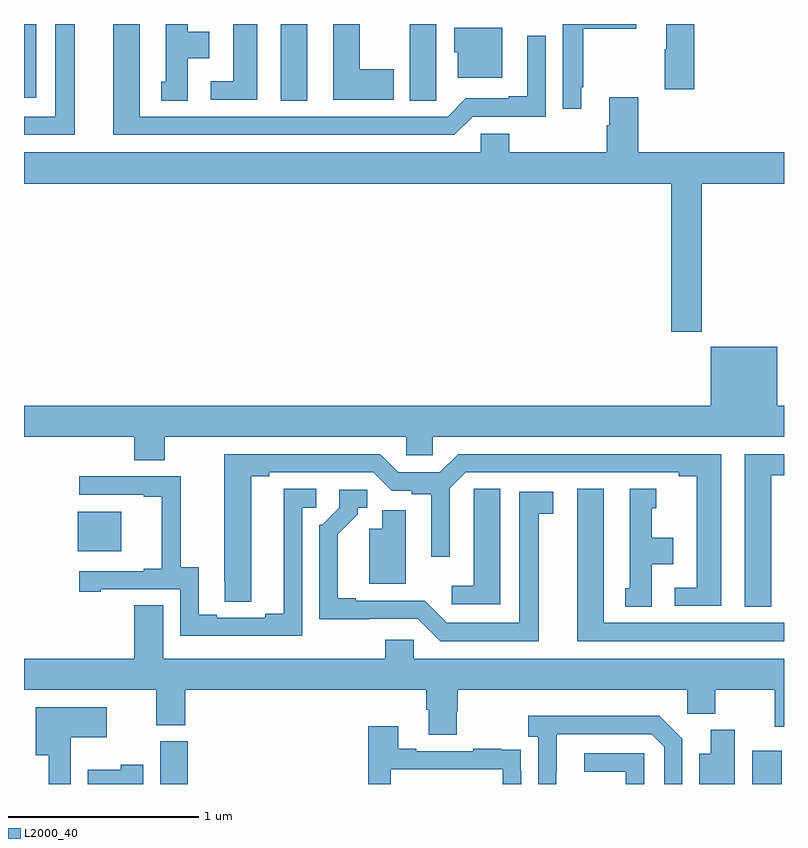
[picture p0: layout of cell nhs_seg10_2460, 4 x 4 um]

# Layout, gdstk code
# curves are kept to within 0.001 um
import gdstk
lib = gdstk.Library(unit=1e-6, precision=1e-09)
def R(c, l, rs):  # rectangles x0, y0, x1, y1
    for r in rs: c.add(gdstk.rectangle(r[:2], r[2:], *l))
def P(c, l, *ps):  # polygons
    for p in ps: c.add(gdstk.Polygon(p, *l))
L2000_40 = (2000, 40)

nhs_seg10_2460 = lib.new_cell('nhs_seg10_2460')
R(nhs_seg10_2460, L2000_40, [(243.716,1286.5,243.863,1286.724), (246.833,1286.5,246.988,1286.674), (243.284,1287.725,243.511,1287.934), (244.352,1290.097,244.492,1290.5), (243,1290.111,243.064,1290.5)])
P(nhs_seg10_2460, L2000_40, [(246.527,1290.5),(246.38,1290.5),(246.38,1290.368),(246.373,1290.368),(246.373,1290.156),(246.527,1290.156)],
  [(245.169,1290.208),(245.17,1290.208),(245.17,1290.5),(245.03,1290.5),(245.03,1290.097),(245.169,1290.097)],
  [(245.361,1290.012),(245.745,1290.012),(245.745,1290.439),(245.648,1290.439),(245.648,1290.121),(245.552,1290.121),(245.552,1290.108),(245.325,1290.108),(245.229,1290.012),(243.61,1290.012),(243.61,1290.5),(243.47,1290.5),(243.47,1289.916),(245.265,1289.916)],
  [(244.228,1290.5),(244.1,1290.5),(244.1,1290.198),(243.984,1290.198),(243.984,1290.102),(244.228,1290.102)],
  [(243.862,1290.32),(243.976,1290.32),(243.976,1290.46),(243.862,1290.46),(243.862,1290.5),(243.746,1290.5),(243.746,1290.195),(243.722,1290.195),(243.722,1290.097),(243.862,1290.097)],
  [(243.268,1290.5),(243.164,1290.5),(243.164,1290.012),(243,1290.012),(243,1289.916),(243.268,1289.916)],
  [(244.945,1290.261),(244.768,1290.261),(244.768,1290.5),(244.628,1290.5),(244.628,1290.101),(244.945,1290.101)],
  [(245.932,1290.166),(245.944,1290.166),(245.944,1290.475),(246.223,1290.475),(246.223,1290.5),(245.835,1290.5),(245.835,1290.054),(245.932,1290.054)],
  [(245.518,1290.481),(245.264,1290.481),(245.264,1290.351),(245.282,1290.351),(245.282,1290.218),(245.518,1290.218)],
  [(246.567,1289.66),(247,1289.66),(247,1289.824),(246.233,1289.824),(246.233,1290.115),(246.08,1290.115),(246.08,1289.966),(246.068,1289.966),(246.068,1289.824),(245.555,1289.824),(245.555,1289.922),(245.403,1289.922),(245.403,1289.824),(243,1289.824),(243,1289.66),(246.407,1289.66),(246.407,1288.881),(246.567,1288.881)],
  [(243.741,1288.328),(245.013,1288.328),(245.013,1288.23),(245.151,1288.23),(245.151,1288.328),(247,1288.328),(247,1288.492),(246.964,1288.492),(246.964,1288.801),(246.614,1288.801),(246.614,1288.492),(243,1288.492),(243,1288.328),(243.581,1288.328),(243.581,1288.204),(243.741,1288.204)],
  [(246.67,1288.236),(245.285,1288.236),(245.189,1288.14),(244.971,1288.14),(244.875,1288.236),(244.055,1288.236),(244.056,1287.46),(244.195,1287.46),(244.195,1288.12),(244.291,1288.12),(244.291,1288.14),(244.839,1288.14),(244.935,1288.044),(245.04,1288.044),(245.04,1288.024),(245.144,1288.024),(245.144,1287.696),(245.241,1287.696),(245.241,1288.056),(245.325,1288.14),(246.446,1288.14),(246.446,1288.12),(246.542,1288.12),(246.542,1287.534),(246.426,1287.534),(246.426,1287.438),(246.67,1287.438)],
  [(246.934,1288.125),(247,1288.125),(247,1288.236),(246.794,1288.236),(246.794,1287.433),(246.934,1287.433)],
  [(244.464,1287.954),(244.537,1287.954),(244.537,1288.055),(244.367,1288.055),(244.367,1287.395),(244.271,1287.395),(244.271,1287.375),(244.015,1287.375),(244.015,1287.39),(243.919,1287.39),(243.919,1287.641),(243.825,1287.641),(243.825,1288.119),(243.291,1288.119),(243.291,1288.023),(243.629,1288.023),(243.629,1288.011),(243.725,1288.011),(243.725,1287.634),(243.629,1287.634),(243.629,1287.621),(243.291,1287.621),(243.291,1287.513),(243.403,1287.513),(243.403,1287.525),(243.822,1287.525),(243.822,1287.279),(244.464,1287.279)],
  [(245.506,1288.055),(245.367,1288.055),(245.367,1287.947),(245.366,1287.947),(245.366,1287.544),(245.25,1287.544),(245.25,1287.447),(245.506,1287.447)],
  [(246.304,1287.656),(246.418,1287.656),(246.418,1287.796),(246.304,1287.796),(246.304,1287.951),(246.328,1287.951),(246.328,1288.054),(246.188,1288.054),(246.188,1287.531),(246.164,1287.531),(246.164,1287.433),(246.304,1287.433)],
  [(247,1287.348),(246.052,1287.348),(246.052,1288.054),(245.912,1288.054),(245.912,1287.252),(247,1287.252)],
  [(245.71,1287.922),(245.785,1287.922),(245.785,1288.038),(245.606,1288.038),(245.606,1287.348),(245.226,1287.348),(245.109,1287.465),(244.747,1287.465),(244.747,1287.478),(244.651,1287.478),(244.651,1287.814),(244.756,1287.919),(244.756,1287.954),(244.806,1287.954),(244.806,1288.05),(244.659,1288.05),(244.659,1287.954),(244.569,1287.864),(244.554,1287.864),(244.554,1287.368),(245.073,1287.369),(245.19,1287.252),(245.71,1287.252)],
  [(245.008,1287.942),(244.886,1287.942),(244.886,1287.844),(244.817,1287.844),(244.817,1287.554),(245.008,1287.554)],
  [(245.277,1286.883),(245.282,1286.883),(245.282,1286.996),(246.492,1286.996),(246.492,1286.87),(246.639,1286.87),(246.639,1286.996),(246.95,1286.996),(246.95,1286.802),(247,1286.802),(247,1287.16),(245.052,1287.16),(245.052,1287.258),(244.901,1287.258),(244.901,1287.16),(243.733,1287.16),(243.733,1287.44),(243.581,1287.44),(243.581,1287.16),(243,1287.16),(243,1286.996),(243.695,1286.996),(243.695,1286.809),(243.848,1286.809),(243.848,1286.996),(245.117,1286.996),(245.117,1286.89),(245.129,1286.89),(245.129,1286.758),(245.277,1286.758)],
  [(243.247,1286.747),(243.436,1286.747),(243.436,1286.905),(243.062,1286.905),(243.062,1286.651),(243.131,1286.651),(243.131,1286.5),(243.247,1286.5)],
  [(245.802,1286.563),(245.803,1286.763),(246.303,1286.763),(246.369,1286.697),(246.369,1286.5),(246.465,1286.5),(246.465,1286.739),(246.344,1286.86),(245.655,1286.86),(245.655,1286.75),(245.706,1286.75),(245.706,1286.5),(245.802,1286.5)],
  [(244.929,1286.577),(245.52,1286.577),(245.52,1286.5),(245.616,1286.5),(245.616,1286.57),(245.615,1286.57),(245.615,1286.679),(245.513,1286.679),(245.513,1286.686),(245.365,1286.686),(245.365,1286.673),(245.065,1286.673),(245.065,1286.686),(244.969,1286.686),(244.969,1286.803),(244.813,1286.803),(244.813,1286.5),(244.929,1286.5)],
  [(246.741,1286.785),(246.614,1286.785),(246.614,1286.659),(246.554,1286.659),(246.554,1286.5),(246.741,1286.5)],
  [(246.264,1286.661),(245.949,1286.661),(245.949,1286.565),(246.168,1286.565),(246.168,1286.5),(246.264,1286.5)],
  [(243.628,1286.602),(243.51,1286.602),(243.51,1286.575),(243.335,1286.575),(243.335,1286.5),(243.628,1286.5)])

lib.write_gds('nhs_seg10_2460.gds')
